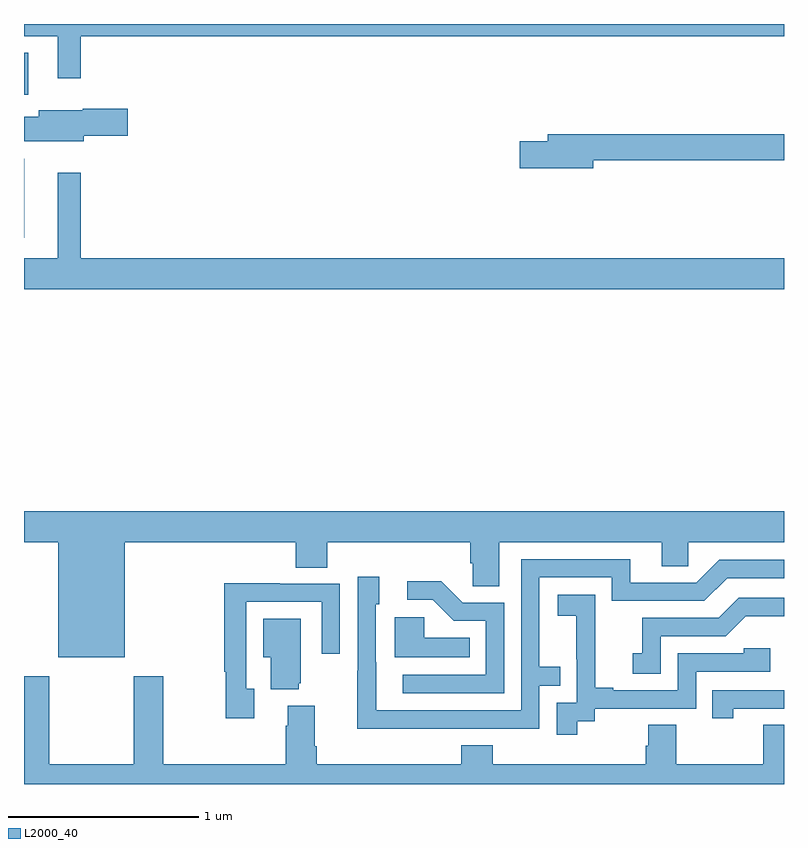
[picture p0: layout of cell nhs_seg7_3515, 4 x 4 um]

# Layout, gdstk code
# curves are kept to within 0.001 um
import gdstk
lib = gdstk.Library(unit=1e-6, precision=1e-09)
def R(c, l, rs):  # rectangles x0, y0, x1, y1
    for r in rs: c.add(gdstk.rectangle(r[:2], r[2:], *l))
def P(c, l, *ps):  # polygons
    for p in ps: c.add(gdstk.Polygon(p, *l))
L2000_40 = (2000, 40)

nhs_seg7_3515 = lib.new_cell('nhs_seg7_3515')
R(nhs_seg7_3515, L2000_40, [(335,1012.875,335.002,1013.29), (335,1013.627,335.023,1013.848)])
P(nhs_seg7_3515, L2000_40, [(335.299,1013.936),(339,1013.936),(339,1014),(335,1014),(335,1013.936),(335.177,1013.936),(335.177,1013.715),(335.299,1013.715)],
  [(335.314,1013.411),(335.545,1013.411),(335.545,1013.553),(335.31,1013.553),(335.31,1013.545),(335.078,1013.545),(335.078,1013.513),(335,1013.513),(335,1013.384),(335.314,1013.384)],
  [(337.996,1013.284),(339,1013.284),(339,1013.42),(337.757,1013.42),(337.757,1013.384),(337.608,1013.384),(337.608,1013.242),(337.996,1013.242)],
  [(339,1012.768),(335.299,1012.768),(335.299,1013.218),(335.177,1013.218),(335.177,1012.768),(335,1012.768),(335,1012.604),(339,1012.604)],
  [(335.53,1011.272),(336.431,1011.272),(336.431,1011.139),(336.596,1011.139),(336.596,1011.272),(337.349,1011.272),(337.349,1011.163),(337.362,1011.163),(337.362,1011.04),(337.501,1011.04),(337.501,1011.272),(338.357,1011.272),(338.357,1011.145),(338.496,1011.145),(338.496,1011.272),(339,1011.272),(339,1011.436),(335,1011.436),(335,1011.272),(335.18,1011.272),(335.18,1010.666),(335.53,1010.666)],
  [(337.217,1010.292),(337.713,1010.292),(337.713,1010.517),(337.823,1010.517),(337.823,1010.618),(337.713,1010.618),(337.713,1011.087),(338.094,1011.087),(338.094,1010.964),(338.58,1010.964),(338.7,1011.084),(339,1011.084),(339,1011.18),(338.658,1011.18),(338.538,1011.06),(338.191,1011.06),(338.191,1011.183),(337.617,1011.183),(337.617,1010.388),(336.853,1010.388),(336.852,1010.946),(336.871,1010.946),(336.871,1011.091),(336.756,1011.091),(336.756,1010.597),(336.754,1010.597),(336.754,1010.291)],
  [(337.527,1010.955),(337.308,1010.955),(337.195,1011.068),(337.017,1011.068),(337.017,1010.97),(337.151,1010.97),(337.262,1010.859),(337.431,1010.859),(337.431,1010.574),(336.993,1010.574),(336.993,1010.478),(337.527,1010.478)],
  [(336.211,1010.502),(336.171,1010.502),(336.171,1010.958),(336.567,1010.958),(336.567,1010.685),(336.663,1010.685),(336.663,1011.054),(336.347,1011.054),(336.347,1011.056),(336.055,1011.056),(336.055,1010.59),(336.063,1010.59),(336.063,1010.346),(336.211,1010.346)],
  [(337.912,1010.329),(338.004,1010.329),(338.004,1010.397),(338.538,1010.397),(338.538,1010.592),(338.927,1010.592),(338.927,1010.715),(338.787,1010.715),(338.787,1010.688),(338.442,1010.688),(338.442,1010.493),(338.101,1010.493),(338.101,1010.506),(338.006,1010.506),(338.006,1010.789),(338.007,1010.789),(338.007,1010.995),(337.809,1010.995),(337.809,1010.885),(337.907,1010.885),(337.907,1010.657),(337.908,1010.657),(337.908,1010.427),(337.803,1010.427),(337.803,1010.259),(337.912,1010.259)],
  [(338.352,1010.778),(338.694,1010.778),(338.798,1010.882),(339,1010.882),(339,1010.979),(338.762,1010.979),(338.657,1010.874),(338.254,1010.874),(338.254,1010.689),(338.205,1010.689),(338.205,1010.58),(338.352,1010.58)],
  [(337.346,1010.77),(337.107,1010.77),(337.107,1010.878),(336.95,1010.878),(336.95,1010.666),(337.346,1010.666)],
  [(336.446,1010.529),(336.457,1010.529),(336.457,1010.869),(336.26,1010.869),(336.26,1010.666),(336.299,1010.666),(336.299,1010.498),(336.446,1010.498)],
  [(335,1010.566),(335,1010),(339,1010),(339,1010.312),(338.89,1010.312),(338.89,1010.104),(338.433,1010.104),(338.433,1010.312),(338.285,1010.312),(338.285,1010.202),(338.273,1010.202),(338.273,1010.104),(337.466,1010.104),(337.466,1010.203),(337.301,1010.203),(337.301,1010.104),(336.542,1010.104),(336.542,1010.2),(336.529,1010.2),(336.529,1010.413),(336.389,1010.413),(336.389,1010.306),(336.377,1010.306),(336.377,1010.104),(335.733,1010.104),(335.733,1010.566),(335.578,1010.566),(335.578,1010.104),(335.133,1010.104),(335.133,1010.566)],
  [(338.734,1010.397),(339,1010.397),(339,1010.493),(338.623,1010.493),(338.623,1010.346),(338.734,1010.346)])

lib.write_gds('nhs_seg7_3515.gds')
